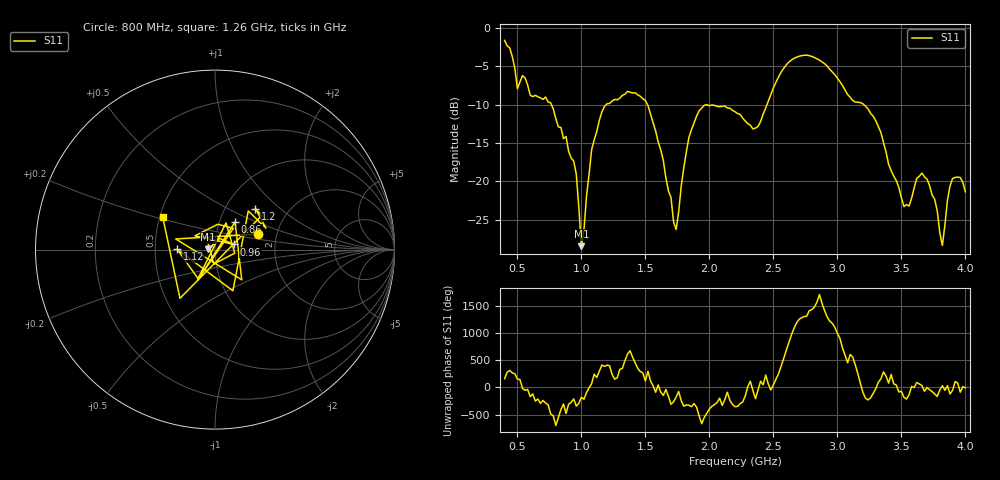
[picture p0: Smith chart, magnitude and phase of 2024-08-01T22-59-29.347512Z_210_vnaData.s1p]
!Created with skrf (http://scikit-rf.org).
# Hz S RI R 50.0
!freq ReS11 ImS11
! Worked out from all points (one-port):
!   181 points, 400 MHz to 4 GHz, reference 50 ohm
!   lowest |S11| = -28.5 dB at 1 GHz (marker M1), VSWR 1.08, Z = 46.4 + j0.173 ohm
!   |S11| at or under -10 dB: 1.517 GHz to 1.977 GHz (460.1 MHz wide, 26.3 % of centre); 1.982 GHz to 2.45 GHz (467.5 MHz wide, 21.1 % of centre); 3.208 GHz to end of sweep (the widest 3 of 4)
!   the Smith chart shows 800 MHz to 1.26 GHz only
!   S11 on the Smith chart (normalised r, x): 800 MHz: 1.60, +0.30; 860 MHz: 1.19, +0.38; 960 MHz: 1.24, +0.07; 1.12 GHz: 0.65, +0.00; 1.2 GHz: 1.37, +0.70; 1.26 GHz: 0.52, +0.21
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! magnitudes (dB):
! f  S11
! 400 MHz  -1.6
! 500 MHz  -7.9
! 800 MHz  -11.8
! 860 MHz  -14.4
! 960 MHz  -19.1
! 1 GHz  -28.5
! 1.08 GHz  -15.9
! 1.12 GHz  -13.5
! 1.2 GHz  -9.9
! 1.26 GHz  -9.3
! 1.3 GHz  -9.1
! 1.5 GHz  -9.5
! 1.64 GHz  -17.3
! 1.72 GHz  -25.3
! 1.76 GHz  -24.0
! 1.84 GHz  -14.3
! 1.92 GHz  -10.8
! 2.2 GHz  -10.9
! 2.38 GHz  -12.8
! 2.66 GHz  -3.9
! 3.1 GHz  -9.0
! 3.3 GHz  -12.1
! 3.56 GHz  -23.2
! 3.66 GHz  -18.9
! 3.76 GHz  -22.3
! 3.82 GHz  -28.4
! 3.9 GHz  -19.6
! 4 GHz  -21.4
